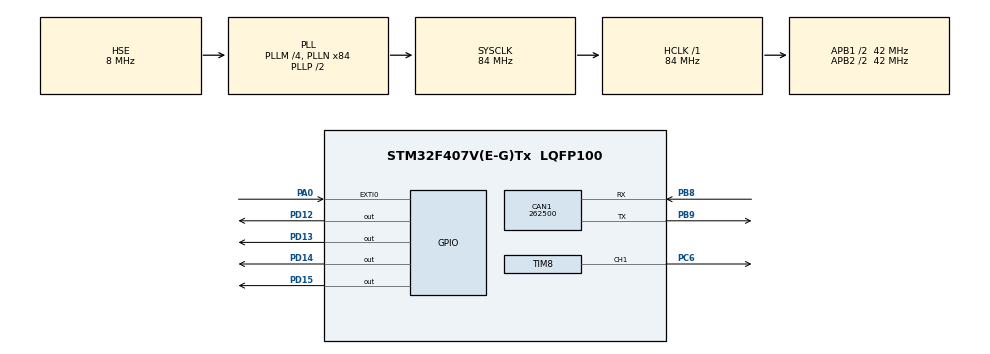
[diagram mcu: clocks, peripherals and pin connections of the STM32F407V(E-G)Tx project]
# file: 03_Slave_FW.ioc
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Mcu.Family=STM32F4
RCC.PLLSourceVirtual=RCC_PLLSOURCE_HSE
NVIC.CAN1_RX1_IRQn=true\:0\:0\:false\:false\:true\:true\:true
Dma.TIM8_CH1.0.Direction=DMA_MEMORY_TO_PERIPH
PH0-OSC_IN.Signal=RCC_OSC_IN
RCC.CortexFreq_Value=84000000
VP_IWDG_VS_IWDG.Mode=IWDG_Activate
CAN1.CalculateBaudRate=262500
PC6.Signal=S_TIM8_CH1
RCC.APB1CLKDivider=RCC_HCLK_DIV2
TIM8.OCMode_PWM-PWM\ Generation1\ CH1=TIM_OCMODE_PWM2
Dma.TIM8_CH1.0.PeriphDataAlignment=DMA_PDATAALIGN_HALFWORD
PA0-WKUP.GPIO_ModeDefaultEXTI=GPIO_MODE_IT_RISING_FALLING
RCC.SYSCLKSource=RCC_SYSCLKSOURCE_PLLCLK
ProjectManager.StackSize=0x400
PA0-WKUP.Signal=GPXTI0
PA13.Signal=SYS_JTMS-SWDIO
PD13.Signal=GPIO_Output
Dma.TIM8_CH1.0.Priority=DMA_PRIORITY_MEDIUM
CAN1.BS2=CAN_BS2_3TQ
CAN1.BS1=CAN_BS1_6TQ
ProjectManager.TargetToolchain=STM32CubeIDE
NVIC.CAN1_TX_IRQn=true\:0\:0\:false\:false\:true\:true\:true
RCC.HCLKFreq_Value=84000000
TIM8.Channel-PWM\ Generation1\ CH1=TIM_CHANNEL_1
PB9.Mode=CAN_Activate
RCC.APB2TimFreq_Value=84000000
VP_TIM8_VS_ClockSourceINT.Mode=Internal
Dma.TIM8_CH1.0.MemDataAlignment=DMA_MDATAALIGN_HALFWORD
NVIC.CAN1_SCE_IRQn=true\:0\:0\:false\:false\:true\:true\:true
RCC.LSE_VALUE=32768
RCC.AHBFreq_Value=84000000
PH0-OSC_IN.Mode=HSE-External-Oscillator
RCC.HSE_VALUE=8000000
SH.S_TIM8_CH1.0=TIM8_CH1,PWM Generation1 CH1
board=custom
RCC.VCOOutputFreq_Value=168000000
Dma.TIM8_CH1.0.MemInc=DMA_MINC_ENABLE
RCC.APB2Freq_Value=42000000
PA14.Mode=Serial_Wire
Dma.TIM8_CH1.0.Mode=DMA_CIRCULAR
PH1-OSC_OUT.Signal=RCC_OSC_OUT
PA13.Mode=Serial_Wire
Dma.TIM8_CH1.0.Instance=DMA2_Stream2
Mcu.Name=STM32F407V(E-G)Tx
TIM8.Period=104
TIM8.OCPolarity_1=TIM_OCPOLARITY_LOW
PD14.Signal=GPIO_Output
PH1-OSC_OUT.Mode=HSE-External-Oscillator
RCC.48MHZClocksFreq_Value=42000000
NVIC.EXTI0_IRQn=true\:0\:0\:false\:false\:true\:true\:true
RCC.SYSCLKFreq_VALUE=84000000
Mcu.Package=LQFP100
PB9.Signal=CAN1_TX
PD12.Signal=GPIO_Output
PA14.Signal=SYS_JTCK-SWCLK
ProjectManager.HeapSize=0x200
Dma.TIM8_CH1.0.FIFOMode=DMA_FIFOMODE_DISABLE
RCC.HSI_VALUE=16000000
NVIC.PriorityGroup=NVIC_PRIORITYGROUP_4
RCC.APB2CLKDivider=RCC_HCLK_DIV2
TIM8.OCFastMode_PWM-PWM\ Generation1\ CH1=TIM_OCFAST_ENABLE
NVIC.DMA2_Stream2_IRQn=true\:0\:0\:false\:false\:true\:false\:true
RCC.PLLM=4
PB8.Mode=CAN_Activate
RCC.PLLN=84
IWDG.Prescaler=IWDG_PRESCALER_16
RCC.APB1TimFreq_Value=84000000
PB8.Signal=CAN1_RX
Dma.TIM8_CH1.0.PeriphInc=DMA_PINC_DISABLE
PA0-WKUP.GPIO_PuPd=GPIO_NOPULL
Dma.Request0=TIM8_CH1
RCC.APB1Freq_Value=42000000
CAN1.CalculateTimeBit=3809.52
PD15.Signal=GPIO_Output
NVIC.CAN1_RX0_IRQn=true\:0\:0\:false\:false\:true\:true\:true
CAN1.CalculateTimeQuantum=380.95238095238096

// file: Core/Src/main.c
/* USER CODE BEGIN Header */
/**
  ******************************************************************************
  * @file           : main.c
  * @brief          : Main program body
  ******************************************************************************
  * @attention
  *
  * <h2><center>&copy; Copyright (c) 2021 STMicroelectronics.
  * All rights reserved.</center></h2>
  *
  * This software component is licensed by ST under BSD 3-Clause license,
  * the "License"; You may not use this file except in compliance with the
  * License. You may obtain a copy of the License at:
  *                        opensource.org/licenses/BSD-3-Clause
  *
  ******************************************************************************
  */
/* USER CODE END Header */
#include "main.h"

/* USER CODE BEGIN Includes */
#include <string.h>
#include "protocol.h"
#include "Neopixel/neopixel.h"
/* USER CODE END Includes */

/* USER CODE BEGIN PTD */
#define NUMBERLEDS		8
/* USER CODE END PTD */

/* USER CODE BEGIN PD */
#define DEVICE_ID 3
/* USER CODE END PD */

CAN_HandleTypeDef hcan1;

IWDG_HandleTypeDef hiwdg;

TIM_HandleTypeDef htim8;
DMA_HandleTypeDef hdma_tim8_ch1;

/* USER CODE BEGIN PV */
CAN_TxHeaderTypeDef TxHeader;
CAN_RxHeaderTypeDef RxHeader;
CAN_FilterTypeDef sFilterConfig;

uint8_t au8_CAN_TxData[80];
uint8_t au8_CAN_RxData[80];

uint8_t u8_UART_Length;
uint8_t u8_CAN_Length;

uint32_t u32_TxMailBox;
FlagStatus CAN_RX_Flag = RESET;

driver_t driver;

uint8_t nums_bit=0;

color database[NUMBERLEDS];
/* USER CODE END PV */

void SystemClock_Config(void);
static void MX_GPIO_Init(void);
static void MX_DMA_Init(void);
static void MX_CAN1_Init(void);
static void MX_TIM8_Init(void);
static void MX_IWDG_Init(void);
/* USER CODE BEGIN PFP */
void HAL_CAN_RxFifo0MsgPendingCallback(CAN_HandleTypeDef *hcan)
{
	HAL_CAN_GetRxMessage(hcan, CAN_RX_FIFO0, &RxHeader, au8_CAN_RxData);
	if (RxHeader.StdId == DEVICE_ID)
	{
		CAN_RX_Flag = SET;
	}
}

void CAN_Rx_Handle(void)
{
	static rainbow_flag = 0;
	if(CAN_RX_Flag == SET)
	{
		decode_msg(&driver, au8_CAN_RxData, RxHeader.DLC);
		if (au8_CAN_RxData[0] < 0x04)
		{
			switch (driver.MODE)
			{
			case 0:
				rainbow_flag = 1;
				break;
			case 1:
				// random
				rainbow_flag = 0;
				random_render();
				break;
			case 2:
				one_color_render(driver.B, driver.R, driver.G);
				rainbow_flag = 0;
				break;
			default:
				break;
			}
		}
		else if (au8_CAN_RxData[0] == 0x04)
		{
			HAL_GPIO_WritePin(GPIOD, GPIO_PIN_12, driver.led & (1 << 0));
			HAL_GPIO_WritePin(GPIOD, GPIO_PIN_13, driver.led & (1 << 1));
			HAL_GPIO_WritePin(GPIOD, GPIO_PIN_14, driver.led & (1 << 2));
			HAL_GPIO_WritePin(GPIOD, GPIO_PIN_15, driver.led & (1 << 3));
		}
		CAN_RX_Flag = RESET;
	}
	if (rainbow_flag)
	{
		render_rainbow_cycle_mode(5);
	}
}

void HAL_GPIO_EXTI_Callback(uint16_t GPIO_Pin)
{
	if(GPIO_Pin==GPIO_PIN_0)
	{
		driver.btn = HAL_GPIO_ReadPin(GPIOA, GPIO_PIN_0);
		encode_msg(&driver, DEVICE_ID, au8_CAN_TxData);
	}
	TxHeader.DLC = 3;
	TxHeader.StdId = 0x65D;
	TxHeader.IDE = CAN_ID_STD;
	TxHeader.RTR = CAN_RTR_DATA;
	TxHeader.TransmitGlobalTime = DISABLE;
	HAL_CAN_AddTxMessage(&hcan1, &TxHeader, au8_CAN_TxData, &u32_TxMailBox);
//	while(HAL_CAN_IsTxMessagePending(&hcan1, u32_TxMailBox));
}
/* USER CODE END PFP */

int main(void)
{

  /* MCU Configuration--------------------------------------------------------*/

  /* Reset of all peripherals, Initializes the Flash interface and the Systick. */
  HAL_Init();

  /* Configure the system clock */
  SystemClock_Config();

  /* Initialize all configured peripherals */
  MX_GPIO_Init();
  MX_DMA_Init();
  MX_CAN1_Init();
  MX_TIM8_Init();
  MX_IWDG_Init();
  /* USER CODE BEGIN 2 */
  HAL_IWDG_Init(&hiwdg);
  //Disable watchdog for debugging
  //__HAL_DBGMCU_FREEZE_IWDG();

  sFilterConfig.FilterActivation = ENABLE;
  sFilterConfig.FilterBank = 18;
  sFilterConfig.FilterFIFOAssignment = CAN_FILTER_FIFO0;
  sFilterConfig.FilterIdHigh = DEVICE_ID << 5;
  sFilterConfig.FilterIdLow = 0;
  sFilterConfig.FilterMaskIdHigh = 0xFFFFFFFF;
  sFilterConfig.FilterMaskIdLow = 0xFFFFFFFF;
  sFilterConfig.FilterMode = CAN_FILTERMODE_IDMASK;
  sFilterConfig.FilterScale = CAN_FILTERSCALE_32BIT;
  sFilterConfig.SlaveStartFilterBank = 40;

  // Initialize CAN filter
  HAL_CAN_ConfigFilter(&hcan1, &sFilterConfig);

  HAL_CAN_Start(&hcan1);
  HAL_CAN_ActivateNotification(&hcan1, CAN_IT_RX_FIFO0_MSG_PENDING);

  init_neopixel(WS2812);
  all_black_render();
  HAL_Delay(100);

  // Handshake
  HAL_GPIO_EXTI_Callback(GPIO_PIN_0);
  /* USER CODE END 2 */

  /* Infinite loop */
  while (1)
  {

    /* USER CODE BEGIN 3 */
	  HAL_IWDG_Refresh(&hiwdg);
	  CAN_Rx_Handle();
  }
  /* USER CODE END 3 */
}

void SystemClock_Config(void)
{
  RCC_OscInitTypeDef RCC_OscInitStruct = {0};
  RCC_ClkInitTypeDef RCC_ClkInitStruct = {0};

  /** Configure the main internal regulator output voltage
  */
  __HAL_RCC_PWR_CLK_ENABLE();
  __HAL_PWR_VOLTAGESCALING_CONFIG(PWR_REGULATOR_VOLTAGE_SCALE1);
  /** Initializes the RCC Oscillators according to the specified parameters
  * in the RCC_OscInitTypeDef structure.
  */
  RCC_OscInitStruct.OscillatorType = RCC_OSCILLATORTYPE_LSI|RCC_OSCILLATORTYPE_HSE;
  RCC_OscInitStruct.HSEState = RCC_HSE_ON;
  RCC_OscInitStruct.LSIState = RCC_LSI_ON;
  RCC_OscInitStruct.PLL.PLLState = RCC_PLL_ON;
  RCC_OscInitStruct.PLL.PLLSource = RCC_PLLSOURCE_HSE;
  RCC_OscInitStruct.PLL.PLLM = 4;
  RCC_OscInitStruct.PLL.PLLN = 84;
  RCC_OscInitStruct.PLL.PLLP = RCC_PLLP_DIV2;
  RCC_OscInitStruct.PLL.PLLQ = 4;
  if (HAL_RCC_OscConfig(&RCC_OscInitStruct) != HAL_OK)
  {
    Error_Handler();
  }
  /** Initializes the CPU, AHB and APB buses clocks
  */
  RCC_ClkInitStruct.ClockType = RCC_CLOCKTYPE_HCLK|RCC_CLOCKTYPE_SYSCLK
                              |RCC_CLOCKTYPE_PCLK1|RCC_CLOCKTYPE_PCLK2;
  RCC_ClkInitStruct.SYSCLKSource = RCC_SYSCLKSOURCE_PLLCLK;
  RCC_ClkInitStruct.AHBCLKDivider = RCC_SYSCLK_DIV1;
  RCC_ClkInitStruct.APB1CLKDivider = RCC_HCLK_DIV2;
  RCC_ClkInitStruct.APB2CLKDivider = RCC_HCLK_DIV2;

  if (HAL_RCC_ClockConfig(&RCC_ClkInitStruct, FLASH_LATENCY_2) != HAL_OK)
  {
    Error_Handler();
  }
}

static void MX_CAN1_Init(void)
{

  hcan1.Instance = CAN1;
  hcan1.Init.Prescaler = 16;
  hcan1.Init.Mode = CAN_MODE_NORMAL;
  hcan1.Init.SyncJumpWidth = CAN_SJW_1TQ;
  hcan1.Init.TimeSeg1 = CAN_BS1_6TQ;
  hcan1.Init.TimeSeg2 = CAN_BS2_3TQ;
  hcan1.Init.TimeTriggeredMode = DISABLE;
  hcan1.Init.AutoBusOff = DISABLE;
  hcan1.Init.AutoWakeUp = DISABLE;
  hcan1.Init.AutoRetransmission = DISABLE;
  hcan1.Init.ReceiveFifoLocked = DISABLE;
  hcan1.Init.TransmitFifoPriority = DISABLE;
  if (HAL_CAN_Init(&hcan1) != HAL_OK)
  {
    Error_Handler();
  }

}

static void MX_IWDG_Init(void)
{

  hiwdg.Instance = IWDG;
  hiwdg.Init.Prescaler = IWDG_PRESCALER_16;
  hiwdg.Init.Reload = 4095;
  if (HAL_IWDG_Init(&hiwdg) != HAL_OK)
  {
    Error_Handler();
  }

}

static void MX_TIM8_Init(void)
{

  TIM_ClockConfigTypeDef sClockSourceConfig = {0};
  TIM_MasterConfigTypeDef sMasterConfig = {0};
  TIM_OC_InitTypeDef sConfigOC = {0};
  TIM_BreakDeadTimeConfigTypeDef sBreakDeadTimeConfig = {0};

  htim8.Instance = TIM8;
  htim8.Init.Prescaler = 0;
  htim8.Init.CounterMode = TIM_COUNTERMODE_UP;
  htim8.Init.Period = 104;
  htim8.Init.ClockDivision = TIM_CLOCKDIVISION_DIV1;
  htim8.Init.RepetitionCounter = 0;
  htim8.Init.AutoReloadPreload = TIM_AUTORELOAD_PRELOAD_DISABLE;
  if (HAL_TIM_Base_Init(&htim8) != HAL_OK)
  {
    Error_Handler();
  }
  sClockSourceConfig.ClockSource = TIM_CLOCKSOURCE_INTERNAL;
  if (HAL_TIM_ConfigClockSource(&htim8, &sClockSourceConfig) != HAL_OK)
  {
    Error_Handler();
  }
  if (HAL_TIM_PWM_Init(&htim8) != HAL_OK)
  {
    Error_Handler();
  }
  sMasterConfig.MasterOutputTrigger = TIM_TRGO_RESET;
  sMasterConfig.MasterSlaveMode = TIM_MASTERSLAVEMODE_DISABLE;
  if (HAL_TIMEx_MasterConfigSynchronization(&htim8, &sMasterConfig) != HAL_OK)
  {
    Error_Handler();
  }
  sConfigOC.OCMode = TIM_OCMODE_PWM2;
  sConfigOC.Pulse = 0;
  sConfigOC.OCPolarity = TIM_OCPOLARITY_LOW;
  sConfigOC.OCNPolarity = TIM_OCNPOLARITY_HIGH;
  sConfigOC.OCFastMode = TIM_OCFAST_ENABLE;
  sConfigOC.OCIdleState = TIM_OCIDLESTATE_RESET;
  sConfigOC.OCNIdleState = TIM_OCNIDLESTATE_RESET;
  if (HAL_TIM_PWM_ConfigChannel(&htim8, &sConfigOC, TIM_CHANNEL_1) != HAL_OK)
  {
    Error_Handler();
  }
  sBreakDeadTimeConfig.OffStateRunMode = TIM_OSSR_DISABLE;
  sBreakDeadTimeConfig.OffStateIDLEMode = TIM_OSSI_DISABLE;
  sBreakDeadTimeConfig.LockLevel = TIM_LOCKLEVEL_OFF;
  sBreakDeadTimeConfig.DeadTime = 0;
  sBreakDeadTimeConfig.BreakState = TIM_BREAK_DISABLE;
  sBreakDeadTimeConfig.BreakPolarity = TIM_BREAKPOLARITY_HIGH;
  sBreakDeadTimeConfig.AutomaticOutput = TIM_AUTOMATICOUTPUT_DISABLE;
  if (HAL_TIMEx_ConfigBreakDeadTime(&htim8, &sBreakDeadTimeConfig) != HAL_OK)
  {
    Error_Handler();
  }
  HAL_TIM_MspPostInit(&htim8);

}

static void MX_DMA_Init(void)
{

  /* DMA controller clock enable */
  __HAL_RCC_DMA2_CLK_ENABLE();

  /* DMA interrupt init */
  /* DMA2_Stream2_IRQn interrupt configuration */
  HAL_NVIC_SetPriority(DMA2_Stream2_IRQn, 0, 0);
  HAL_NVIC_EnableIRQ(DMA2_Stream2_IRQn);

}

static void MX_GPIO_Init(void)
{
  GPIO_InitTypeDef GPIO_InitStruct = {0};

  /* GPIO Ports Clock Enable */
  __HAL_RCC_GPIOH_CLK_ENABLE();
  __HAL_RCC_GPIOA_CLK_ENABLE();
  __HAL_RCC_GPIOD_CLK_ENABLE();
  __HAL_RCC_GPIOC_CLK_ENABLE();
  __HAL_RCC_GPIOB_CLK_ENABLE();

  /*Configure GPIO pin Output Level */
  HAL_GPIO_WritePin(GPIOD, GPIO_PIN_12|GPIO_PIN_13|GPIO_PIN_14|GPIO_PIN_15, GPIO_PIN_RESET);

  /*Configure GPIO pin : PA0 */
  GPIO_InitStruct.Pin = GPIO_PIN_0;
  GPIO_InitStruct.Mode = GPIO_MODE_IT_RISING_FALLING;
  GPIO_InitStruct.Pull = GPIO_NOPULL;
  HAL_GPIO_Init(GPIOA, &GPIO_InitStruct);

  /*Configure GPIO pins : PD12 PD13 PD14 PD15 */
  GPIO_InitStruct.Pin = GPIO_PIN_12|GPIO_PIN_13|GPIO_PIN_14|GPIO_PIN_15;
  GPIO_InitStruct.Mode = GPIO_MODE_OUTPUT_PP;
  GPIO_InitStruct.Pull = GPIO_NOPULL;
  GPIO_InitStruct.Speed = GPIO_SPEED_FREQ_LOW;
  HAL_GPIO_Init(GPIOD, &GPIO_InitStruct);

  /* EXTI interrupt init*/
  HAL_NVIC_SetPriority(EXTI0_IRQn, 0, 0);
  HAL_NVIC_EnableIRQ(EXTI0_IRQn);

}

void Error_Handler(void)
{
  __disable_irq();
  while (1)
  {
  }
}

/************************ (C) COPYRIGHT STMicroelectronics *****END OF FILE****/
